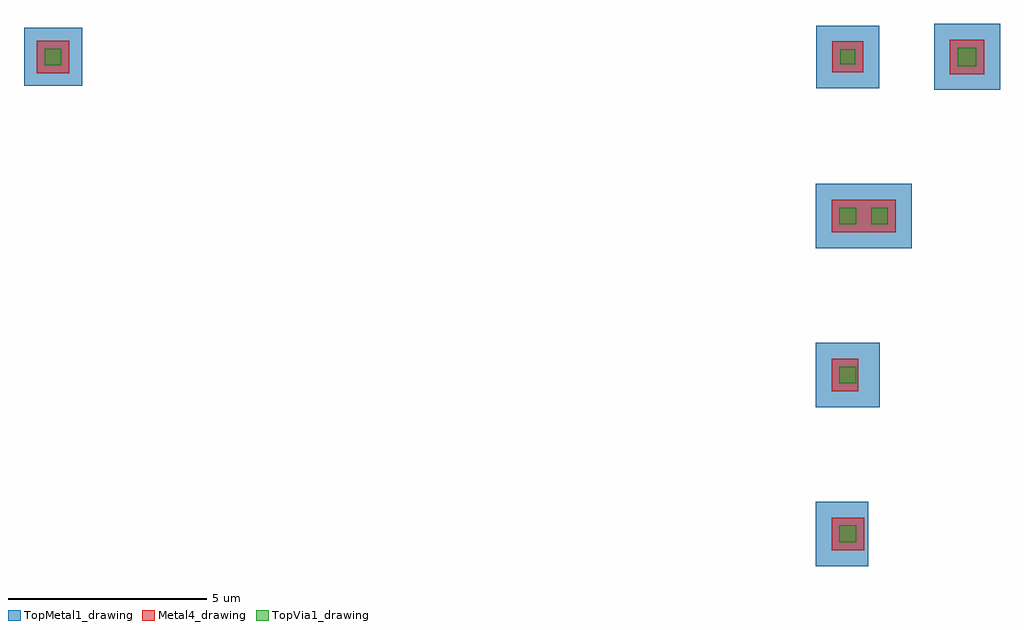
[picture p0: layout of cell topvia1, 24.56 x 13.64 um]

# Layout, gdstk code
import gdstk
lib = gdstk.Library(unit=1e-6, precision=1e-09)
def R(c, l, rs):  # rectangles x0, y0, x1, y1
    for r in rs: c.add(gdstk.rectangle(r[:2], r[2:], *l))
Metal4_drawing = (50, 0)
TopVia1_drawing = (125, 0)
TopMetal1_drawing = (126, 0)

topvia1 = lib.new_cell('topvia1')
R(topvia1, Metal4_drawing, [(4.59,-12.41,5.41,-11.59), (4.59,-8.41,5.269,-7.59), (4.59,-4.41,6.21,-3.59), (7.569,-0.43,8.43,0.43), (-15.41,-0.41,-14.59,0.41), (4.609,-0.39,5.39,0.39)])
R(topvia1, TopVia1_drawing, [(4.79,-12.21,5.21,-11.789), (4.79,-8.21,5.21,-7.79), (4.79,-4.21,5.21,-3.79), (5.59,-4.21,6.01,-3.79), (7.769,-0.229,8.23,0.229), (-15.21,-0.21,-14.789,0.21), (4.809,-0.19,5.19,0.19)])
R(topvia1, TopMetal1_drawing, [(4.19,-12.81,5.51,-11.19), (4.19,-8.81,5.809,-7.19), (4.19,-4.809,6.609,-3.19), (7.17,-0.829,8.83,0.829), (4.21,-0.79,5.79,0.79), (-15.73,-0.73,-14.27,0.73)])
topvia1.add(gdstk.Label('PASS', (-15,3), layer=63, texttype=0))
topvia1.add(gdstk.Label('FAIL', (7,3), layer=63, texttype=0))
topvia1.add(gdstk.Label('TV1.a/b/c/d', (5,6), layer=63, texttype=0))
topvia1.add(gdstk.Label('5.21 TopVia1', (-5,10), layer=63, texttype=0))

lib.write_gds('topvia1.gds')
